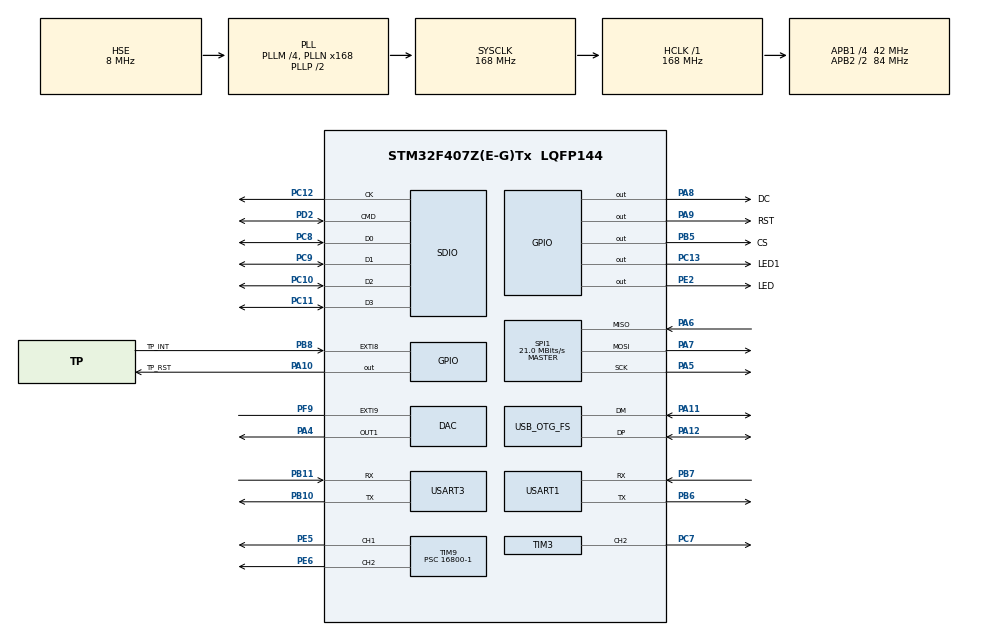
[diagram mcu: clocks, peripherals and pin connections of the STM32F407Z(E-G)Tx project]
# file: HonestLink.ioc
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DAC.DAC_Trigger=DAC_TRIGGER_T6_TRGO
Dma.DAC1.5.Direction=DMA_MEMORY_TO_PERIPH
Dma.DAC1.5.FIFOMode=DMA_FIFOMODE_DISABLE
Dma.DAC1.5.Instance=DMA1_Stream5
Dma.DAC1.5.MemDataAlignment=DMA_MDATAALIGN_WORD
Dma.DAC1.5.MemInc=DMA_MINC_ENABLE
Dma.DAC1.5.Mode=DMA_CIRCULAR
Dma.DAC1.5.PeriphDataAlignment=DMA_PDATAALIGN_WORD
Dma.DAC1.5.PeriphInc=DMA_PINC_DISABLE
Dma.DAC1.5.Priority=DMA_PRIORITY_MEDIUM
Dma.Request0=USART3_RX
Dma.Request1=USART3_TX
Dma.Request2=SPI1_TX
Dma.Request3=SDIO_RX
Dma.Request4=SDIO_TX
Dma.Request5=DAC1
Dma.SDIO_RX.3.Direction=DMA_PERIPH_TO_MEMORY
Dma.SDIO_RX.3.FIFOMode=DMA_FIFOMODE_ENABLE
Dma.SDIO_RX.3.FIFOThreshold=DMA_FIFO_THRESHOLD_FULL
Dma.SDIO_RX.3.Instance=DMA2_Stream3
Dma.SDIO_RX.3.MemBurst=DMA_MBURST_INC4
Dma.SDIO_RX.3.MemDataAlignment=DMA_MDATAALIGN_WORD
Dma.SDIO_RX.3.MemInc=DMA_MINC_ENABLE
Dma.SDIO_RX.3.Mode=DMA_PFCTRL
Dma.SDIO_RX.3.PeriphBurst=DMA_PBURST_INC4
Dma.SDIO_RX.3.PeriphDataAlignment=DMA_PDATAALIGN_WORD
Dma.SDIO_RX.3.PeriphInc=DMA_PINC_DISABLE
Dma.SDIO_RX.3.Priority=DMA_PRIORITY_LOW
Dma.SDIO_TX.4.Direction=DMA_MEMORY_TO_PERIPH
Dma.SDIO_TX.4.FIFOMode=DMA_FIFOMODE_ENABLE
Dma.SDIO_TX.4.FIFOThreshold=DMA_FIFO_THRESHOLD_FULL
Dma.SDIO_TX.4.Instance=DMA2_Stream6
Dma.SDIO_TX.4.MemBurst=DMA_MBURST_INC4
Dma.SDIO_TX.4.MemDataAlignment=DMA_MDATAALIGN_WORD
Dma.SDIO_TX.4.MemInc=DMA_MINC_ENABLE
Dma.SDIO_TX.4.Mode=DMA_PFCTRL
Dma.SDIO_TX.4.PeriphBurst=DMA_PBURST_INC4
Dma.SDIO_TX.4.PeriphDataAlignment=DMA_PDATAALIGN_WORD
Dma.SDIO_TX.4.PeriphInc=DMA_PINC_DISABLE
Dma.SDIO_TX.4.Priority=DMA_PRIORITY_LOW
Dma.SPI1_TX.2.Direction=DMA_MEMORY_TO_PERIPH
Dma.SPI1_TX.2.FIFOMode=DMA_FIFOMODE_DISABLE
Dma.SPI1_TX.2.Instance=DMA2_Stream5
Dma.SPI1_TX.2.MemDataAlignment=DMA_MDATAALIGN_BYTE
Dma.SPI1_TX.2.MemInc=DMA_MINC_ENABLE
Dma.SPI1_TX.2.Mode=DMA_NORMAL
Dma.SPI1_TX.2.PeriphDataAlignment=DMA_PDATAALIGN_BYTE
Dma.SPI1_TX.2.PeriphInc=DMA_PINC_DISABLE
Dma.SPI1_TX.2.Priority=DMA_PRIORITY_LOW
Dma.USART3_RX.0.Direction=DMA_PERIPH_TO_MEMORY
Dma.USART3_RX.0.FIFOMode=DMA_FIFOMODE_DISABLE
Dma.USART3_RX.0.Instance=DMA1_Stream1
Dma.USART3_RX.0.MemDataAlignment=DMA_MDATAALIGN_BYTE
Dma.USART3_RX.0.MemInc=DMA_MINC_ENABLE
Dma.USART3_RX.0.Mode=DMA_NORMAL
Dma.USART3_RX.0.PeriphDataAlignment=DMA_PDATAALIGN_BYTE
Dma.USART3_RX.0.PeriphInc=DMA_PINC_DISABLE
Dma.USART3_RX.0.Priority=DMA_PRIORITY_LOW
Dma.USART3_TX.1.Direction=DMA_MEMORY_TO_PERIPH
Dma.USART3_TX.1.FIFOMode=DMA_FIFOMODE_DISABLE
Dma.USART3_TX.1.Instance=DMA1_Stream3
Dma.USART3_TX.1.MemDataAlignment=DMA_MDATAALIGN_BYTE
Dma.USART3_TX.1.MemInc=DMA_MINC_ENABLE
Dma.USART3_TX.1.Mode=DMA_NORMAL
Dma.USART3_TX.1.PeriphDataAlignment=DMA_PDATAALIGN_BYTE
Dma.USART3_TX.1.PeriphInc=DMA_PINC_DISABLE
Dma.USART3_TX.1.Priority=DMA_PRIORITY_LOW
FATFS._FS_MINIMIZE=0
FATFS._USE_FIND=1
FREERTOS.Tasks01=DAPTask,0,1024,DAPFun,Default,NULL,Dynamic,NULL,NULL;LEDTask,-3,128,LEDTaskFun,Default,NULL,Dynamic,NULL,NULL;LVGLTask,0,3072,LvglStartTask,Default,NULL,Dynamic,NULL,NULL;OfflineDownload,0,2048,OfflineDownloadStartTask,Default,NULL,Dynamic,NULL,NULL;ToolsTask,0,1024,ToolsStartTask,Default,NULL,Dynamic,NULL,NULL
FREERTOS.configLIBRARY_MAX_SYSCALL_INTERRUPT_PRIORITY=2
FREERTOS.configTOTAL_HEAP_SIZE=30720
FREERTOS.configUSE_NEWLIB_REENTRANT=1
Mcu.Family=STM32F4
Mcu.Name=STM32F407Z(E-G)Tx
Mcu.Package=LQFP144
NVIC.DMA1_Stream1_IRQn=true\:2\:0\:false\:false\:true\:true\:false\:true\:true
NVIC.DMA1_Stream3_IRQn=true\:2\:0\:false\:false\:true\:true\:false\:true\:true
NVIC.DMA1_Stream5_IRQn=true\:2\:0\:false\:false\:true\:true\:false\:true\:true
NVIC.DMA2_Stream3_IRQn=true\:7\:0\:true\:false\:true\:true\:false\:true\:true
NVIC.DMA2_Stream5_IRQn=true\:2\:0\:false\:false\:true\:false\:false\:true\:true
NVIC.DMA2_Stream6_IRQn=true\:7\:0\:true\:false\:true\:true\:false\:true\:true
NVIC.OTG_FS_IRQn=true\:2\:0\:false\:false\:true\:true\:true\:true\:true
NVIC.PriorityGroup=NVIC_PRIORITYGROUP_4
NVIC.SDIO_IRQn=true\:5\:0\:true\:false\:true\:true\:true\:true\:true
NVIC.TIM1_UP_TIM10_IRQn=true\:15\:0\:false\:false\:true\:false\:false\:true\:true
NVIC.TimeBase=TIM1_UP_TIM10_IRQn
NVIC.TimeBaseIP=TIM1
NVIC.USART1_IRQn=true\:2\:0\:false\:false\:true\:true\:true\:true\:true
NVIC.USART3_IRQn=true\:2\:0\:false\:false\:true\:true\:true\:true\:true
PA10.GPIO_Label=TP_RST
PA10.Signal=GPIO_Output
PA11.Mode=Device_Only
PA11.Signal=USB_OTG_FS_DM
PA12.Mode=Device_Only
PA12.Signal=USB_OTG_FS_DP
PA13.Mode=Serial_Wire
PA13.Signal=SYS_JTMS-SWDIO
PA14.Mode=Serial_Wire
PA14.Signal=SYS_JTCK-SWCLK
PA4.Signal=COMP_DAC1_group
PA5.Mode=Full_Duplex_Master
PA5.Signal=SPI1_SCK
PA6.Mode=Full_Duplex_Master
PA6.Signal=SPI1_MISO
PA7.Mode=Full_Duplex_Master
PA7.Signal=SPI1_MOSI
PA8.GPIO_Label=DC
PA8.PinState=GPIO_PIN_SET
PA8.Signal=GPIO_Output
PA9.GPIO_Label=RST
PA9.PinState=GPIO_PIN_SET
PA9.Signal=GPIO_Output
PB10.Mode=Asynchronous
PB10.Signal=USART3_TX
PB11.Mode=Asynchronous
PB11.Signal=USART3_RX
PB5.GPIO_Label=CS
PB5.PinState=GPIO_PIN_SET
PB5.Signal=GPIO_Output
PB6.Mode=Asynchronous
PB6.Signal=USART1_TX
PB7.Mode=Asynchronous
PB7.Signal=USART1_RX
PB8.GPIO_Label=TP_INT
PB8.Signal=GPXTI8
PC10.Mode=SD_4_bits_Wide_bus
PC10.Signal=SDIO_D2
PC11.Mode=SD_4_bits_Wide_bus
PC11.Signal=SDIO_D3
PC12.Mode=SD_4_bits_Wide_bus
PC12.Signal=SDIO_CK
PC13-ANTI_TAMP.GPIO_Label=LED1
PC13-ANTI_TAMP.GPIO_PuPd=GPIO_PULLUP
PC13-ANTI_TAMP.PinState=GPIO_PIN_SET
PC13-ANTI_TAMP.Signal=GPIO_Output
PC14-OSC32_IN.Mode=LSE-External-Oscillator
PC14-OSC32_IN.Signal=RCC_OSC32_IN
PC15-OSC32_OUT.Mode=LSE-External-Oscillator
PC15-OSC32_OUT.Signal=RCC_OSC32_OUT
PC7.Signal=S_TIM3_CH2
PC8.Mode=SD_4_bits_Wide_bus
PC8.Signal=SDIO_D0
PC9.Mode=SD_4_bits_Wide_bus
PC9.Signal=SDIO_D1
PD2.Mode=SD_4_bits_Wide_bus
PD2.Signal=SDIO_CMD
PE2.GPIO_Label=LED
PE2.GPIO_PuPd=GPIO_PULLUP
PE2.PinState=GPIO_PIN_SET
PE2.Signal=GPIO_Output
PE5.Signal=S_TIM9_CH1
PE6.Signal=S_TIM9_CH2
PF9.Signal=GPXTI9
PH0-OSC_IN.Mode=HSE-External-Oscillator
PH0-OSC_IN.Signal=RCC_OSC_IN
PH1-OSC_OUT.Mode=HSE-External-Oscillator
PH1-OSC_OUT.Signal=RCC_OSC_OUT
ProjectManager.HeapSize=0x200
ProjectManager.StackSize=0x800
ProjectManager.TargetToolchain=STM32CubeIDE
RCC.48MHZClocksFreq_Value=48000000
RCC.AHBFreq_Value=168000000
RCC.APB1CLKDivider=RCC_HCLK_DIV4
RCC.APB1Freq_Value=42000000
RCC.APB1TimFreq_Value=84000000
RCC.APB2CLKDivider=RCC_HCLK_DIV2
RCC.APB2Freq_Value=84000000
RCC.APB2TimFreq_Value=168000000
RCC.CortexFreq_Value=168000000
RCC.HCLKFreq_Value=168000000
RCC.HSE_VALUE=8000000
RCC.HSI_VALUE=16000000
RCC.PLLM=4
RCC.PLLN=168
RCC.PLLQ=7
RCC.SYSCLKFreq_VALUE=168000000
RCC.SYSCLKSource=RCC_SYSCLKSOURCE_PLLCLK
RCC.VCOOutputFreq_Value=336000000
SDIO.ClockDiv=2
SH.COMP_DAC1_group.0=DAC_OUT1,DAC_OUT1
SH.S_TIM3_CH2.0=TIM3_CH2,PWM Generation2 CH2
SH.S_TIM9_CH1.0=TIM9_CH1,PWM Generation1 CH1
SH.S_TIM9_CH2.0=TIM9_CH2,PWM Generation2 CH2
SPI1.BaudRatePrescaler=SPI_BAUDRATEPRESCALER_4
SPI1.CalculateBaudRate=21.0 MBits/s
SPI1.Direction=SPI_DIRECTION_2LINES
SPI1.Mode=SPI_MODE_MASTER
SPI1.VirtualType=VM_MASTER
TIM3.Channel-PWM\ Generation2\ CH2=TIM_CHANNEL_2
TIM3.Period=1000-1
TIM3.Prescaler=1000-1
TIM6.Period=100-1
TIM6.Prescaler=84-1
TIM6.TIM_MasterOutputTrigger=TIM_TRGO_UPDATE
TIM9.Channel-PWM\ Generation1\ CH1=TIM_CHANNEL_1
TIM9.Channel-PWM\ Generation2\ CH2=TIM_CHANNEL_2
TIM9.Period=200-1
TIM9.Prescaler=16800-1
TIM9.Pulse-PWM\ Generation1\ CH1=50
TIM9.Pulse-PWM\ Generation2\ CH2=50
USART1.VirtualMode=VM_ASYNC
USART3.VirtualMode=VM_ASYNC
USB_OTG_FS.VirtualMode=Device_Only
VP_FATFS_VS_SDIO.Mode=SDIO
VP_FREERTOS_VS_CMSIS_V1.Mode=CMSIS_V1
VP_SYS_VS_tim1.Mode=TIM1
VP_TIM6_VS_ClockSourceINT.Mode=Enable_Timer
board=custom

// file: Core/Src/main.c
/* USER CODE BEGIN Header */
/**
  ******************************************************************************
  * @file           : main.c
  * @brief          : Main program body
  ******************************************************************************
  * @attention
  *
  * Copyright (c) 2025 STMicroelectronics.
  * All rights reserved.
  *
  * This software is licensed under terms that can be found in the LICENSE file
  * in the root directory of this software component.
  * If no LICENSE file comes with this software, it is provided AS-IS.
  *
  ******************************************************************************
  */
/* USER CODE END Header */
#include "main.h"
#include "cmsis_os.h"
#include "dac.h"
#include "dma.h"
#include "fatfs.h"
#include "sdio.h"
#include "spi.h"
#include "tim.h"
#include "usart.h"
#include "usb_otg.h"
#include "gpio.h"

void SystemClock_Config(void);
void MX_FREERTOS_Init(void);

/* USER CODE BEGIN 0 */
void usb_dc_low_level_init(void) {
    GPIO_InitTypeDef GPIO_InitStruct = {0};
    __HAL_RCC_GPIOA_CLK_ENABLE();
    GPIO_InitStruct.Pin = GPIO_PIN_11 | GPIO_PIN_12;
    GPIO_InitStruct.Mode = GPIO_MODE_AF_PP;
    GPIO_InitStruct.Pull = GPIO_NOPULL;
    GPIO_InitStruct.Speed = GPIO_SPEED_FREQ_VERY_HIGH;
    GPIO_InitStruct.Alternate = GPIO_AF10_OTG_FS;
    HAL_GPIO_Init(GPIOA, &GPIO_InitStruct);
    __HAL_RCC_USB_OTG_FS_CLK_ENABLE();
    HAL_NVIC_SetPriority(OTG_FS_IRQn, 0, 0);
    HAL_NVIC_EnableIRQ(OTG_FS_IRQn);
}

uint32_t fac_us;

void HAL_Delay_us_init(uint8_t SYSCLK) {
    fac_us = SYSCLK;
}

void HAL_Delay_us(uint32_t nus) {
    uint32_t ticks;
    uint32_t told, tnow, tcnt = 0;
    uint32_t reload = SysTick->LOAD;
    ticks = nus * fac_us;
    told = SysTick->VAL;
    while (1) {
        tnow = SysTick->VAL;
        if (tnow != told) {
            if (tnow < told)tcnt += told - tnow;
            else tcnt += reload - tnow + told;
            told = tnow;
            if (tcnt >= ticks)break;
        }
    };
}

/* USER CODE END 0 */

int main(void)
{

  /* MCU Configuration--------------------------------------------------------*/

  /* Reset of all peripherals, Initializes the Flash interface and the Systick. */
  HAL_Init();

  /* Configure the system clock */
  SystemClock_Config();

  /* USER CODE BEGIN SysInit */

#if 0
  /* USER CODE END SysInit */

  /* Initialize all configured peripherals */
  MX_GPIO_Init();
  MX_DMA_Init();
  MX_USART1_UART_Init();
  MX_USB_OTG_FS_PCD_Init();
  MX_USART3_UART_Init();
  MX_SPI1_Init();
  MX_TIM3_Init();
  MX_SDIO_SD_Init();
  MX_FATFS_Init();
  MX_TIM9_Init();
  MX_DAC_Init();
  MX_TIM6_Init();
  /* USER CODE BEGIN 2 */
#endif
    //TODO 如果新增了外设，记得在这里添加初始化函数
    MX_GPIO_Init();
    MX_DMA_Init();
    MX_USART1_UART_Init();
    MX_USART3_UART_Init();
    MX_SPI1_Init();
    MX_TIM3_Init();
    MX_SDIO_SD_Init();
    MX_FATFS_Init();
    MX_TIM9_Init();
    MX_DAC_Init();
    MX_TIM6_Init();

    BSP_SD_Init();//初始化SD卡
  /* USER CODE END 2 */

  /* Call init function for freertos objects (in cmsis_os2.c) */
  MX_FREERTOS_Init();

  /* Start scheduler */
  osKernelStart();

  /* We should never get here as control is now taken by the scheduler */

  /* Infinite loop */
    while (1) {

    }
}

void SystemClock_Config(void)
{
  RCC_OscInitTypeDef RCC_OscInitStruct = {0};
  RCC_ClkInitTypeDef RCC_ClkInitStruct = {0};

  /** Configure the main internal regulator output voltage
  */
  __HAL_RCC_PWR_CLK_ENABLE();
  __HAL_PWR_VOLTAGESCALING_CONFIG(PWR_REGULATOR_VOLTAGE_SCALE1);

  /** Initializes the RCC Oscillators according to the specified parameters
  * in the RCC_OscInitTypeDef structure.
  */
  RCC_OscInitStruct.OscillatorType = RCC_OSCILLATORTYPE_HSE;
  RCC_OscInitStruct.HSEState = RCC_HSE_ON;
  RCC_OscInitStruct.PLL.PLLState = RCC_PLL_ON;
  RCC_OscInitStruct.PLL.PLLSource = RCC_PLLSOURCE_HSE;
  RCC_OscInitStruct.PLL.PLLM = 4;
  RCC_OscInitStruct.PLL.PLLN = 168;
  RCC_OscInitStruct.PLL.PLLP = RCC_PLLP_DIV2;
  RCC_OscInitStruct.PLL.PLLQ = 7;
  if (HAL_RCC_OscConfig(&RCC_OscInitStruct) != HAL_OK)
  {
    Error_Handler();
  }

  /** Initializes the CPU, AHB and APB buses clocks
  */
  RCC_ClkInitStruct.ClockType = RCC_CLOCKTYPE_HCLK|RCC_CLOCKTYPE_SYSCLK
                              |RCC_CLOCKTYPE_PCLK1|RCC_CLOCKTYPE_PCLK2;
  RCC_ClkInitStruct.SYSCLKSource = RCC_SYSCLKSOURCE_PLLCLK;
  RCC_ClkInitStruct.AHBCLKDivider = RCC_SYSCLK_DIV1;
  RCC_ClkInitStruct.APB1CLKDivider = RCC_HCLK_DIV4;
  RCC_ClkInitStruct.APB2CLKDivider = RCC_HCLK_DIV2;

  if (HAL_RCC_ClockConfig(&RCC_ClkInitStruct, FLASH_LATENCY_5) != HAL_OK)
  {
    Error_Handler();
  }
}

void HAL_TIM_PeriodElapsedCallback(TIM_HandleTypeDef *htim)
{
  if (htim->Instance == TIM1) {
    HAL_IncTick();
  }
}

void Error_Handler(void)
{
    __disable_irq();
    while (1) {
    }
}

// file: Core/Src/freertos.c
/* USER CODE BEGIN Header */
/**
  ******************************************************************************
  * File Name          : freertos.c
  * Description        : Code for freertos applications
  ******************************************************************************
  * @attention
  *
  * Copyright (c) 2025 STMicroelectronics.
  * All rights reserved.
  *
  * This software is licensed under terms that can be found in the LICENSE file
  * in the root directory of this software component.
  * If no LICENSE file comes with this software, it is provided AS-IS.
  *
  ******************************************************************************
  */
/* USER CODE END Header */

#include "FreeRTOS.h"
#include "task.h"
#include "main.h"
#include "cmsis_os.h"

/* USER CODE BEGIN Includes */
#include "dap_main.h"
#include "DAP.h"
#include "lvgl.h"
#include "lv_port_disp.h"
#include "lv_port_indev.h"
#include "cst816.h"
#include "fatfs.h"
#include "ui.h"
#include "lv_lib_100ask.h"
#include "swd_download_file.h"
#include "pageManager.h"
#include "gui_data_update.h"
/* USER CODE END Includes */

/* USER CODE BEGIN Variables */
#define DAP_THREAD_PRIORITY         30
#define DAP_THREAD_TIMESLICE        20

static uint32_t IDCODE = 0x00000000;
char volatile current_dap_mode = 0;//DAP当前的模式

extern DAP_Data_t DAP_Data;//DAP数据结构体
extern chry_ringbuffer_t g_uartrx;

extern uint8_t swd_read_idcode(uint32_t *id);

void soft_reset_target(void);

QueueHandle_t offline_download_sem;//离线下载二值信号量句柄
extern char choose_device_path[LV_100ASK_FILE_EXPLORER_PATH_MAX_LEN];
extern char choose_firmware_bin_path[LV_100ASK_FILE_EXPLORER_PATH_MAX_LEN];

extern int32_t swd_download_from_file(char *_file_path);

extern int8_t swd_download_update_flash_algo(char *_file_path);

/* USER CODE END Variables */
osThreadId DAPTaskHandle;
osThreadId LEDTaskHandle;
osThreadId LVGLTaskHandle;
osThreadId OfflineDownloadHandle;
osThreadId ToolsTaskHandle;

/* USER CODE BEGIN FunctionPrototypes */

/**
 * @brief 用于处理ID超时的情况的函数
 * */
static void ID_timeout(void) {
    static uint32_t id = 0;
    if (current_dap_mode == 1) {
        //当mode为SWD时，尝试读取IDCODE
        if (swd_read_idcode(&id) == 0) {
            if (id != IDCODE) {
                //IDCODE发生变化，说明目标芯片被重新上电，更新存储IDCODE
                IDCODE = id;
            } else {
                //读取的ID代码与当前存储的ID代码相同，将ID代码清零并重新初始化SWD调试接口
                IDCODE = 0x00000000;
                swd_init_debug();
            }
        }
    }
}

/*
 * @brief 用于对目标芯片执行软复位操作
 * */
void soft_reset_target(void) {
    //软复位目标芯片
    static uint32_t val;
    if (current_dap_mode == 1) {
        //当mode为1时，尝试从地址 0xe000e000 + 0x0D0C 读取一个32位的值到val变量中
        if (!swd_read_word((0xe000e000) + 0x0D0C, &val)) {
            //如果读取失败，返回
            return;
        }

        if (!swd_write_word((0xe000e000) + 0x0D0C,
                            0x05FA0000 | (val & SCB_AIRCR_PRIGROUP_Msk)
                            | 0x00000004)) {
            return;
        }
    }
}

void vApplicationStackOverflowHook(TaskHandle_t xTask, char *pcTaskName) {
    // 堆栈溢出处理代码
    printf("Stack overflow in task: %s\n", pcTaskName);
    while (1);
}

/* USER CODE END FunctionPrototypes */

void DAPFun(void const * argument);
void LEDTaskFun(void const * argument);
void LvglStartTask(void const * argument);
void OfflineDownloadStartTask(void const * argument);
void ToolsStartTask(void const * argument);

void MX_FREERTOS_Init(void); /* (MISRA C 2004 rule 8.1) */

/* GetIdleTaskMemory prototype (linked to static allocation support) */
void vApplicationGetIdleTaskMemory( StaticTask_t **ppxIdleTaskTCBBuffer, StackType_t **ppxIdleTaskStackBuffer, uint32_t *pulIdleTaskStackSize );

/* USER CODE BEGIN GET_IDLE_TASK_MEMORY */
static StaticTask_t xIdleTaskTCBBuffer;
static StackType_t xIdleStack[configMINIMAL_STACK_SIZE];

void vApplicationGetIdleTaskMemory(StaticTask_t **ppxIdleTaskTCBBuffer, StackType_t **ppxIdleTaskStackBuffer,
                                   uint32_t *pulIdleTaskStackSize) {
    *ppxIdleTaskTCBBuffer = &xIdleTaskTCBBuffer;
    *ppxIdleTaskStackBuffer = &xIdleStack[0];
    *pulIdleTaskStackSize = configMINIMAL_STACK_SIZE;
    /* place for user code */
}
/* USER CODE END GET_IDLE_TASK_MEMORY */

void MX_FREERTOS_Init(void) {
  /* USER CODE BEGIN Init */
    chry_dap_init(0, USB_OTG_FS_PERIPH_BASE);//初始化DAP
    HAL_Delay_us_init(168);
  /* USER CODE END Init */

  /* Create the thread(s) */
  /* definition and creation of DAPTask */
  osThreadDef(DAPTask, DAPFun, osPriorityNormal, 0, 1024);
  DAPTaskHandle = osThreadCreate(osThread(DAPTask), NULL);

  /* definition and creation of LEDTask */
  osThreadDef(LEDTask, LEDTaskFun, osPriorityIdle, 0, 128);
  LEDTaskHandle = osThreadCreate(osThread(LEDTask), NULL);

  /* definition and creation of LVGLTask */
  osThreadDef(LVGLTask, LvglStartTask, osPriorityNormal, 0, 3072);
  LVGLTaskHandle = osThreadCreate(osThread(LVGLTask), NULL);

  /* definition and creation of OfflineDownload */
  osThreadDef(OfflineDownload, OfflineDownloadStartTask, osPriorityNormal, 0, 2048);
  OfflineDownloadHandle = osThreadCreate(osThread(OfflineDownload), NULL);

  /* definition and creation of ToolsTask */
  osThreadDef(ToolsTask, ToolsStartTask, osPriorityNormal, 0, 1024);
  ToolsTaskHandle = osThreadCreate(osThread(ToolsTask), NULL);

}

/* USER CODE BEGIN Header_DAPFun */
/**
  * @brief  DAPLink线程的处理函数
  * @param  argument: Not used
  * @retval None
  */
/* USER CODE END Header_DAPFun */
void DAPFun(void const * argument)
{
  /* USER CODE BEGIN DAPFun */
    /* Infinite loop */
    for (;;) {
        chry_dap_handle();//处理DAP数据的函数
        chry_dap_usb2uart_handle();//处理USB转串口数据的函数
        if (xTaskGetTickCount() % 300 == 0) {
            //每300ms检查一次IDCODE
            ID_timeout();
        }
    }
  /* USER CODE END DAPFun */
}

void LEDTaskFun(void const * argument)
{
  /* USER CODE BEGIN LEDTaskFun */
    /* Infinite loop */
    for (;;) {
        HAL_GPIO_TogglePin(LED1_GPIO_Port, LED1_Pin);
        osDelay(1000);
    }
  /* USER CODE END LEDTaskFun */
}

/* USER CODE BEGIN Header_LvglStartTask */
/*
void lv_list_demo() {
    lv_obj_t *list_obj = lv_obj_create(lv_scr_act()); // 创建列表部件背景
    lv_obj_t *list = lv_list_create(list_obj);        // 创建列表

    lv_obj_set_size(list_obj, 250, 300);
    lv_obj_center(list_obj);        // 设置部件居中
    lv_obj_update_layout(list_obj); // 手动更新部件参数

    lv_obj_set_align(list, LV_ALIGN_CENTER);
    lv_list_add_text(list, "Setting"); // 为列表添加文本
    lv_obj_set_size(list, 200, 200);

    lv_obj_t *btn1 = lv_list_add_btn(list, LV_SYMBOL_WIFI, "WiFi");
    lv_obj_add_event_cb(btn1, NULL, LV_EVENT_CLICKED, NULL);
    lv_obj_t *btn2 = lv_list_add_btn(list, LV_SYMBOL_BLUETOOTH, "BlueTooth");
    lv_obj_add_event_cb(btn2, NULL, LV_EVENT_CLICKED, NULL);
    lv_obj_t *btn3 = lv_list_add_btn(list, LV_SYMBOL_IMAGE, "Image");
    lv_obj_add_event_cb(btn3, NULL, LV_EVENT_CLICKED, NULL);
    lv_obj_t *btn4 = lv_list_add_btn(list, LV_SYMBOL_KEYBOARD, "KeyBoard");
    lv_obj_add_event_cb(btn4, NULL, LV_EVENT_CLICKED, NULL);
    lv_obj_t *btn5 = lv_list_add_btn(list, LV_SYMBOL_DIRECTORY, "Directory");
    lv_obj_add_event_cb(btn5, NULL, LV_EVENT_CLICKED, NULL);
}

*/

FATFS fs; //工作空间
void InitFatFas(void) {
    int retSD = f_mount(&fs, "0:", 1);
    if (retSD) {
        printf("mount error : %d \r\n", retSD);
    } else
        printf("mount success!!! \r\n");
}

/**
* @brief LVGL thread.
* @param argument: Not used
* @retval None
*/
/* USER CODE END Header_LvglStartTask */
void LvglStartTask(void const * argument)
{
  /* USER CODE BEGIN LvglStartTask */
    CST816_GPIO_Init();//触控初始化
    CST816_RESET();//触控复位
    lv_init();
    lv_port_disp_init();
    lv_port_indev_init();

    //lv_list_demo();
    SD_Driver.disk_initialize(0);//初始化SD卡
    InitFatFas();//初始化FATFS

    ui_init();

    /* Infinite loop */
    //获取当前页面的ID，判断处于什么页面，然后对应更新什么数据，处于什么页面干什么事，节省资源
    for (;;) {
        lv_task_handler();
        switch (Page_Get_NowPage()->id) {
            case HomePage:
                break;
            case PinMapPage:
                break;
            case OfflineDAPPage: {
                update_offline_download_info();//更新离线下载的信息
                break;
            }
            case PWMPage: {
                update_pwd();
                break;
            }
            case ElectricPage:
                break;
            case ServosPage: {
                update_Servo();
                break;
            }
            case LogicPage:
                break;
            case DACPage:
                break;
            case FilePage:
                break;
            default:
                break;
        }
        osDelay(1);
    }
  /* USER CODE END LvglStartTask */
}

void OfflineDownloadStartTask(void const * argument)
{
  /* USER CODE BEGIN OfflineDownloadStartTask */
    offline_download_sem = xSemaphoreCreateBinary();//创建二至信号量
    _offline_download_info_init();//初始化下载信息
    if (offline_download_sem != NULL) {
        printf("Semaphore Create Succeed!!\r\n");
    } else {
        printf("Semaphore Create Error!!\r\n");
        return;
    }
    /* Infinite loop */
    for (;;) {
        xSemaphoreTake(offline_download_sem, portMAX_DELAY);//永久方式等待信号量
        printf("Start Offline Download!!\r\n");
        printf("Choose Device Path: %s\r\n", choose_device_path);
        printf("Choose Firmware Bin Path: %s\r\n", choose_firmware_bin_path);
        osDelay(100);
        swd_download_update_flash_algo(choose_device_path);//根据选择的设备地址更新SWD下载的Flash算法
        if (swd_download_from_file(choose_firmware_bin_path) == -1) {//根据选择的固件进行离线下载
            printf("Download Error!!\r\n");
        } else {
            printf("Download Succeed!!\r\n");
        }
        osDelay(1);
    }
  /* USER CODE END OfflineDownloadStartTask */
}

void ToolsStartTask(void const * argument)
{
    for (;;) {
        osDelay(1);
    }
}
